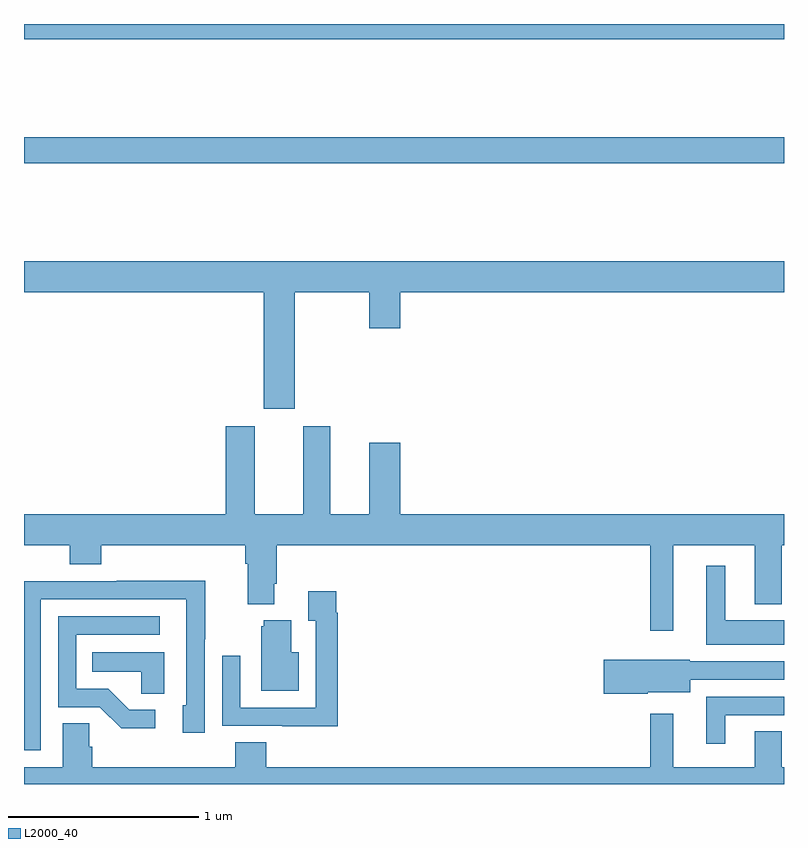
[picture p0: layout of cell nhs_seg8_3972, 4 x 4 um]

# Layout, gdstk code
import gdstk
lib = gdstk.Library(unit=1e-6, precision=1e-09)
def R(c, l, rs):  # rectangles x0, y0, x1, y1
    for r in rs: c.add(gdstk.rectangle(r[:2], r[2:], *l))
def P(c, l, *ps):  # polygons
    for p in ps: c.add(gdstk.Polygon(p, *l))
L2000_40 = (2000, 40)

nhs_seg8_3972 = lib.new_cell('nhs_seg8_3972')
R(nhs_seg8_3972, L2000_40, [(355,1129.168,359,1129.304), (355,1129.82,359,1129.9)])
P(nhs_seg8_3972, L2000_40, [(356.425,1128.488),(356.816,1128.488),(356.816,1128.3),(356.98,1128.3),(356.98,1128.488),(359,1128.488),(359,1128.652),(355,1128.652),(355,1128.488),(356.261,1128.488),(356.261,1127.874),(356.425,1127.874)],
  [(358.417,1127.156),(358.847,1127.156),(358.847,1126.847),(358.987,1126.847),(358.987,1127.156),(359,1127.156),(359,1127.32),(356.98,1127.32),(356.98,1127.695),(356.816,1127.695),(356.816,1127.32),(356.611,1127.32),(356.611,1127.782),(356.471,1127.782),(356.471,1127.32),(356.215,1127.32),(356.215,1127.782),(356.063,1127.782),(356.063,1127.32),(355,1127.32),(355,1127.156),(355.241,1127.156),(355.241,1127.057),(355.406,1127.057),(355.406,1127.156),(356.165,1127.156),(356.165,1127.06),(356.177,1127.06),(356.177,1126.847),(356.317,1126.847),(356.317,1126.954),(356.33,1126.954),(356.33,1127.156),(358.296,1127.156),(358.296,1126.707),(358.417,1126.707)],
  [(359,1126.762),(358.69,1126.762),(358.69,1127.05),(358.592,1127.05),(358.592,1126.634),(359,1126.634)],
  [(355.089,1126.872),(355.854,1126.872),(355.854,1126.314),(355.835,1126.314),(355.835,1126.17),(355.95,1126.17),(355.95,1126.663),(355.953,1126.663),(355.953,1126.97),(355.489,1126.97),(355.489,1126.968),(355,1126.968),(355,1126.077),(355.089,1126.077)],
  [(356.651,1126.802),(356.644,1126.802),(356.644,1126.915),(356.495,1126.915),(356.495,1126.759),(356.535,1126.759),(356.535,1126.302),(356.139,1126.302),(356.139,1126.576),(356.043,1126.576),(356.043,1126.206),(356.359,1126.206),(356.359,1126.205),(356.651,1126.205)],
  [(355.69,1126.29),(355.555,1126.29),(355.444,1126.401),(355.275,1126.401),(355.275,1126.686),(355.714,1126.686),(355.714,1126.782),(355.179,1126.782),(355.179,1126.305),(355.398,1126.305),(355.511,1126.193),(355.69,1126.193)],
  [(356.446,1126.594),(356.407,1126.594),(356.407,1126.762),(356.261,1126.762),(356.261,1126.731),(356.249,1126.731),(356.249,1126.391),(356.446,1126.391)],
  [(355.738,1126.594),(355.36,1126.594),(355.36,1126.49),(355.617,1126.49),(355.617,1126.375),(355.738,1126.375)],
  [(358.284,1126.382),(358.507,1126.382),(358.507,1126.449),(359,1126.449),(359,1126.545),(358.503,1126.545),(358.503,1126.553),(358.05,1126.553),(358.05,1126.375),(358.284,1126.375)],
  [(358.69,1126.263),(359,1126.263),(359,1126.359),(358.592,1126.359),(358.592,1126.113),(358.69,1126.113)],
  [(359,1125.988),(358.987,1125.988),(358.987,1126.178),(358.847,1126.178),(358.847,1125.988),(358.417,1125.988),(358.417,1126.27),(358.296,1126.27),(358.296,1125.988),(356.276,1125.988),(356.276,1126.121),(356.111,1126.121),(356.111,1125.988),(355.358,1125.988),(355.358,1126.097),(355.344,1126.097),(355.344,1126.22),(355.205,1126.22),(355.205,1125.988),(355,1125.988),(355,1125.9),(359,1125.9)])

lib.write_gds('nhs_seg8_3972.gds')
